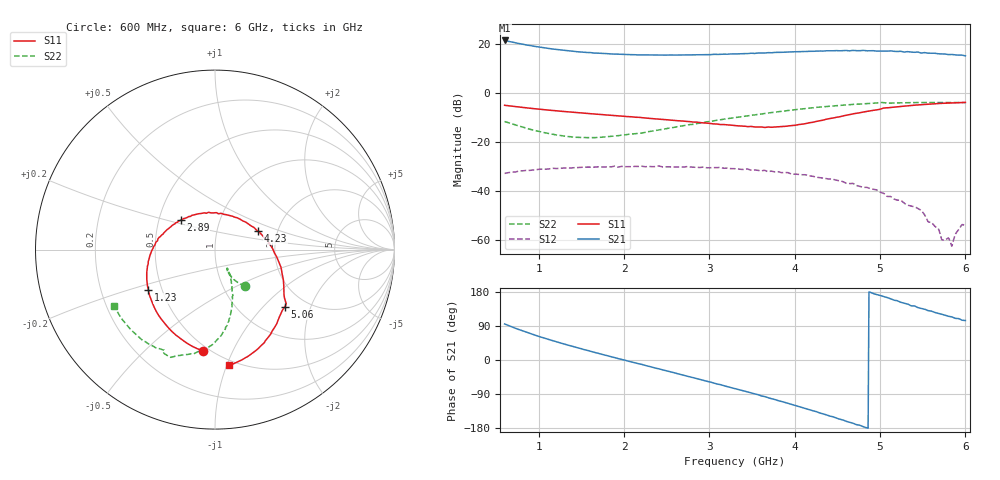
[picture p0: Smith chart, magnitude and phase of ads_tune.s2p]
! Created Sat Apr 22 20:45:39 2023
# hz S ma R 50
! 2 Port Network Data from SP1.SP block
! freq  magS11  angS11  magS21  angS21  magS12  angS12  magS22  angS22
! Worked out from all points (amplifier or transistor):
!   541 points, 600 MHz to 6 GHz, reference 50 ohm
!   highest |S21| = 21.5 dB at 600 MHz (marker M1)
!   |S21| within 3 dB of that: start of sweep to 1.059 GHz
!   unconditionally stable (mu >= 1): start of sweep to end of sweep
!   at 1.5 GHz: K = 2.08, MAG = 17.6 dB, |S12| = -30.2 dB
!   at 3.3 GHz: K = 2.49, MAG = 16.6 dB, |S12| = -30.8 dB
!   at 6 GHz: K = 14.29, MAG = 20.1 dB, |S12| = -54.1 dB
!   S11 on the Smith chart (normalised r, x): 600 MHz: 0.46, -0.77; 1.23 GHz: 0.42, -0.23; 2.89 GHz: 0.65, +0.23; 4.23 GHz: 1.58, +0.35; 5.06 GHz: 1.57, -1.34; 6 GHz: 0.46, -1.02
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6e8  0.568 -97.0  11.92 95.2  0.02316 16.7  0.2651 -50.5
7.5e8  0.528 -112.8  10.48 81.8  0.02542 10.2  0.2197 -55.6
9.2e8  0.4901 -127.4  9.233 68.2  0.02699 2.2  0.1804 -58.9
1.23e9  0.4345 -148.6  7.723 46.6  0.02932 -9.5  0.1393 -59.7
1.5e9  0.3967 -162.9  6.925 29.7  0.03092 -21.0  0.1249 -57.8
1.91e9  0.3476 179.5  6.282 5.0  0.03175 -35.0  0.1349 -57.5
2.4e9  0.2968 160.6  6.018 -22.9  0.03274 -53.7  0.1775 -60.7
2.89e9  0.2524 139.6  6.082 -51.3  0.03059 -74.0  0.2464 -67.3
3.3e9  0.2196 114.7  6.332 -75.6  0.02891 -91.9  0.3183 -72.7
3.58e9  0.205 91.1  6.617 -92.3  0.02653 -104.0  0.3729 -76.7
3.77e9  0.2047 71.7  6.806 -104.5  0.02491 -113.8  0.414 -79.9
3.96e9  0.2191 51.5  6.979 -116.9  0.02246 -120.9  0.4535 -83.5
4.2e9  0.2534 26.4  7.158 -133.1  0.02043 -133.0  0.5013 -88.6
4.23e9  0.2607 23.3  7.193 -134.8  0.01986 -135.8  0.5095 -89.4
4.48e9  0.3219 0.6  7.416 -152.6  0.01698 -145.3  0.5565 -96.0
4.69e9  0.3826 -15.5  7.481 -167.5  0.01431 -161.6  0.5939 -101.9
4.81e9  0.4166 -23.8  7.477 -176.6  0.01203 -165.6  0.6079 -105.7
5.06e9  0.5023 -39.3  7.222 166.3  0.008576 -179.0  0.6367 -116.6
5.1e9  0.5074 -42.8  7.268 163.5  0.007848 178.5  0.6277 -117.0
5.45e9  0.5794 -60.9  6.874 137.8  0.004405 154.8  0.647 -128.8
5.83e9  0.6337 -76.9  6.165 114.3  0.0008602 51.2  0.6465 -143.8
6e9  0.6498 -82.9  5.779 104.2  0.001984 -1.3  0.6465 -150.8
